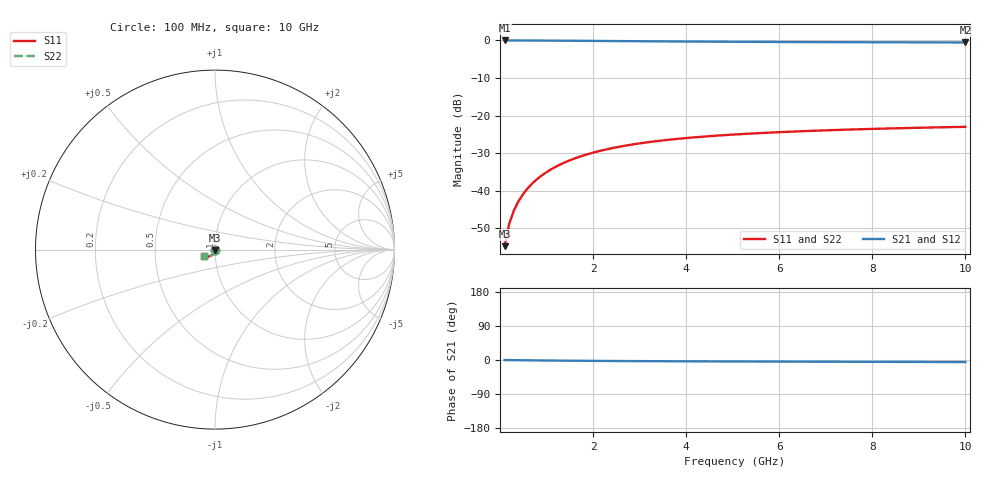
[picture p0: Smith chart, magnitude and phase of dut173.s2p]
! Touchstone file exported from HFSS 2024.1.0
!  File:  C:/UserFiles/LocalFiles/RDL_TSV_Batchsim/temp_TSV1_173_1779383436.aedt
!  Generated:  01:15:59 AM May 22, 2026
!  Design:  TSV1
!  Project:  temp_TSV1_173_1779383436
!  Setup:  Setup1
!  Solution:  Sweep
! Variables:
!  dtsv = 13.92um
!  hbump = 3um
!  htsv = 79.52um
!  lrdl = 252.1521522um
!  p = 40
!  p1 = 41.3um
!  t = 500um
!  trdl = 3um
!  wrdl = 24.89489489um
# GHz S MA R 50.000000
! Terminal data exported
! Port[1] = TSV22_T1
! Port[2] = TSV22_T2
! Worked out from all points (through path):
!   100 points, 100 MHz to 10 GHz, reference 50 ohm
!   highest |S21| = 0.00 dB at 100 MHz (marker M1); lowest = -0.5 dB at 10 GHz (marker M2)
!   lowest |S11| = -54.8 dB at 100 MHz (marker M3), VSWR 1.00, Z = 50 - j0.181 ohm
!   |S11| at or under -10 dB: start of sweep to end of sweep
!   |S22| runs from -54.8 to -23.0 dB; largest |S21 - S12| = 4.2e-15
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0.1  0.001815 -88.6  0.9999 -0.1  0.9999 -0.1  0.001815 -88.6
! Gamma 0 0 0 0
! Port Impedance 50 0 50 0
0.2  0.003625 -91.6  0.9997 -0.3  0.9997 -0.3  0.003625 -91.6
0.3  0.005433 -93.6  0.9995 -0.4  0.9995 -0.4  0.005433 -93.6
0.4  0.007232 -95.3  0.9992 -0.6  0.9992 -0.6  0.007232 -95.3
0.5  0.009017 -96.8  0.9987 -0.7  0.9987 -0.7  0.009017 -96.8
0.6  0.01078 -98.3  0.9982 -0.8  0.9982 -0.8  0.01078 -98.3
0.7  0.01253 -99.8  0.9977 -0.9  0.9977 -0.9  0.01253 -99.8
0.8  0.01424 -101.2  0.997 -1.1  0.997 -1.1  0.01424 -101.2
0.9  0.01593 -102.6  0.9963 -1.2  0.9963 -1.2  0.01593 -102.6
1.1  0.0192 -105.2  0.9947 -1.4  0.9947 -1.4  0.0192 -105.2
1.4  0.02383 -109.0  0.992 -1.8  0.992 -1.8  0.02383 -109.0
1.6  0.02671 -111.4  0.9901 -2.0  0.9901 -2.0  0.02671 -111.4
1.8  0.02943 -113.7  0.988 -2.1  0.988 -2.1  0.02943 -113.7
2.1  0.0332 -116.9  0.985 -2.4  0.985 -2.4  0.0332 -116.9
2.5  0.03769 -120.7  0.9809 -2.7  0.9809 -2.7  0.03769 -120.7
2.9  0.0416 -124.0  0.977 -2.9  0.977 -2.9  0.0416 -124.0
3.4  0.04581 -127.7  0.9724 -3.2  0.9724 -3.2  0.04581 -127.7
4.2  0.05129 -132.5  0.9659 -3.6  0.9659 -3.6  0.05129 -132.5
5.1  0.05612 -136.7  0.9598 -3.9  0.9598 -3.9  0.05612 -136.7
6.7  0.06246 -142.2  0.9513 -4.4  0.9513 -4.4  0.06246 -142.2
8.4  0.06728 -146.3  0.9449 -4.9  0.9449 -4.9  0.06728 -146.3
10  0.07064 -149.2  0.9404 -5.4  0.9404 -5.4  0.07064 -149.2
